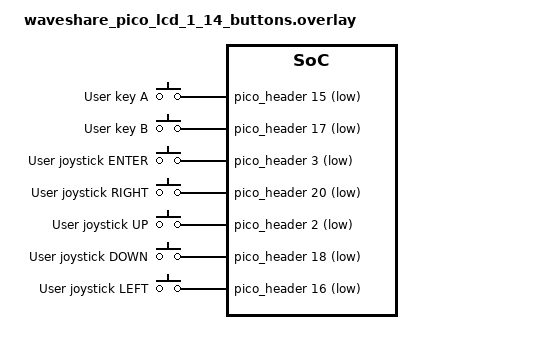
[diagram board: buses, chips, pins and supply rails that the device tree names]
/*
 * Copyright (c) 2025 TOKITA Hiroshi
 *
 * SPDX-License-Identifier: Apache-2.0
 */

#include <zephyr/dt-bindings/gpio/gpio.h>
#include <zephyr/dt-bindings/input/input-event-codes.h>
#include <zephyr/dt-bindings/lvgl/lvgl.h>

/ {
	waveshare_pico_lcd_1_14_buttons: waveshare-pico_lcd_1_14-buttons {
		compatible = "gpio-keys";

		key_a: key_a {
			label = "User key A";
			gpios = <&pico_header 15 (GPIO_PULL_UP | GPIO_ACTIVE_LOW)>;
			zephyr,code = <INPUT_KEY_A>;
		};

		key_b: key_b {
			label = "User key B";
			gpios = <&pico_header 17 (GPIO_PULL_UP | GPIO_ACTIVE_LOW)>;
			zephyr,code = <INPUT_KEY_B>;
		};
	};

	waveshare_pico_lcd_1_14_joystick: waveshare-pico_lcd_1_14-joystick {
		compatible = "gpio-keys";

		joystick_enter: joystick_enter {
			label = "User joystick ENTER";
			gpios = <&pico_header 3 (GPIO_PULL_UP | GPIO_ACTIVE_LOW)>;
			zephyr,code = <INPUT_KEY_ENTER>;
		};

		joystick_right: joystick_right {
			label = "User joystick RIGHT";
			gpios = <&pico_header 20 (GPIO_PULL_UP | GPIO_ACTIVE_LOW)>;
			zephyr,code = <INPUT_KEY_RIGHT>;
		};

		joystick_up: joystick_up {
			label = "User joystick UP";
			gpios = <&pico_header 2 (GPIO_PULL_UP | GPIO_ACTIVE_LOW)>;
			zephyr,code = <INPUT_KEY_UP>;
		};

		joystick_down: joystick_down {
			label = "User joystick DOWN";
			gpios = <&pico_header 18 (GPIO_PULL_UP | GPIO_ACTIVE_LOW)>;
			zephyr,code = <INPUT_KEY_DOWN>;
		};

		joystick_left: joystick_left {
			label = "User joystick LEFT";
			gpios = <&pico_header 16 (GPIO_PULL_UP | GPIO_ACTIVE_LOW)>;
			zephyr,code = <INPUT_KEY_LEFT>;
		};
	};

	aliases {
		sw0 = &key_a;
		sw1 = &key_b;
	};
};
